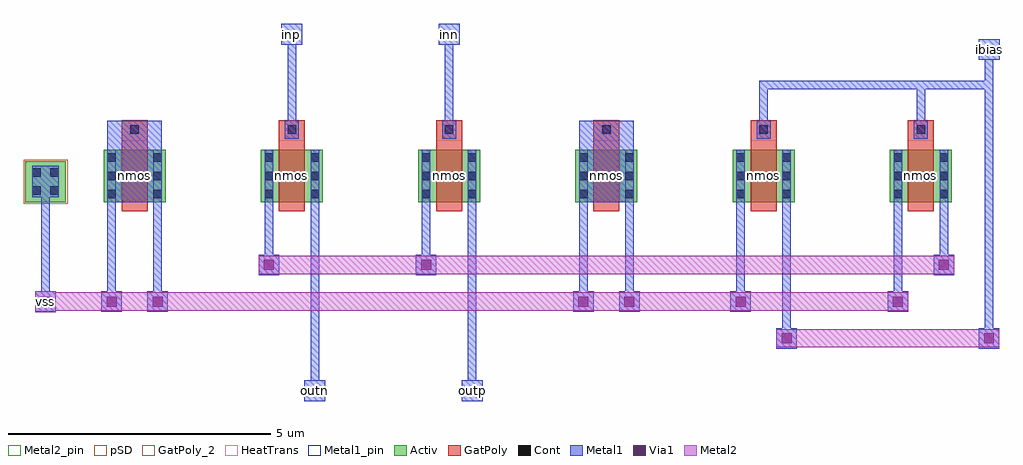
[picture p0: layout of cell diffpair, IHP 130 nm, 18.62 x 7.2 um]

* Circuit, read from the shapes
.subckt diffpair ibias inn inp outn outp vss
XM1 vss vss vss vss sg13_lv_nmos w=1u l=0.5u m=2
XM2 outn inp n1 vss sg13_lv_nmos w=1u l=0.5u
XM3 outp inn n1 vss sg13_lv_nmos w=1u l=0.5u
XM4 ibias ibias vss vss sg13_lv_nmos w=1u l=0.5u
XM5 n1 ibias vss vss sg13_lv_nmos w=1u l=0.5u
.ends

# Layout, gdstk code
import gdstk
lib = gdstk.Library(unit=1e-6, precision=1e-09)
def R(c, l, rs):  # rectangles x0, y0, x1, y1
    for r in rs: c.add(gdstk.rectangle(r[:2], r[2:], *l))
def A(c, l, x, y, w, h, nx, ny, dx, dy):  # array of equal rectangles
    R(c, l, [(x+i*dx, y+j*dy, x+i*dx+w, y+j*dy+h) for i in range(nx) for j in range(ny)])
Activ = (1, 0)
GatPoly = (5, 0)
GatPoly_2 = (5, 2)
Cont = (6, 0)
Metal1 = (8, 0)
Metal1_pin = (8, 2)
Metal2 = (10, 0)
Metal2_pin = (10, 2)
pSD = (14, 0)
Via1 = (19, 0)
HeatTrans = (51, 0)

diffpair = lib.new_cell('diffpair')
A(diffpair, Activ, 0, 0, 1.18, 1, 6, 1, 3, 0)
R(diffpair, Activ, [(-1.5,0,-0.72,0.78), (0,0,0.3,0.3), (0.88,0,1.18,0.3), (3,0,3.3,0.3), (3.88,0,4.18,0.3), (6,0,6.3,0.3), (6.88,0,7.18,0.3), (9,0,9.3,0.3), (9.88,0,10.18,0.3), (12,0,12.3,0.3), (12.88,0,13.18,0.3), (15,0,15.3,0.3), (15.88,0,16.18,0.3)])
A(diffpair, GatPoly, 0.34, -0.18, 0.5, 1.36, 6, 1, 3, 0)
A(diffpair, GatPoly, 0.34, 1, 0.5, 0.56, 6, 1, 3, 0)
A(diffpair, GatPoly_2, 0.34, -0.18, 0.5, 1.36, 6, 1, 3, 0)
A(diffpair, Cont, 0.07, 0.07, 0.16, 0.16, 1, 3, 0, 0.35)
A(diffpair, Cont, 0.95, 0.07, 0.16, 0.16, 1, 3, 0, 0.35)
A(diffpair, Cont, 3.07, 0.07, 0.16, 0.16, 1, 3, 0, 0.35)
A(diffpair, Cont, 3.95, 0.07, 0.16, 0.16, 1, 3, 0, 0.35)
A(diffpair, Cont, 6.07, 0.07, 0.16, 0.16, 1, 3, 0, 0.35)
A(diffpair, Cont, 6.95, 0.07, 0.16, 0.16, 1, 3, 0, 0.35)
A(diffpair, Cont, 9.07, 0.07, 0.16, 0.16, 1, 3, 0, 0.35)
A(diffpair, Cont, 9.95, 0.07, 0.16, 0.16, 1, 3, 0, 0.35)
A(diffpair, Cont, 12.07, 0.07, 0.16, 0.16, 1, 3, 0, 0.35)
A(diffpair, Cont, 12.95, 0.07, 0.16, 0.16, 1, 3, 0, 0.35)
A(diffpair, Cont, 15.07, 0.07, 0.16, 0.16, 1, 3, 0, 0.35)
A(diffpair, Cont, 15.95, 0.07, 0.16, 0.16, 1, 3, 0, 0.35)
A(diffpair, Cont, 0.51, 1.3, 0.16, 0.16, 6, 1, 3, 0)
R(diffpair, Cont, [(-1.36,0.14,-1.2,0.3), (-1.02,0.14,-0.86,0.3), (-1.36,0.48,-1.2,0.64), (-1.02,0.48,-0.86,0.64)])
A(diffpair, Metal1, 0.455, 1.21, 0.27, 0.34, 6, 1, 3, 0)
R(diffpair, Metal1, [(3.83,-3.8,4.23,-3.4), (6.83,-3.8,7.23,-3.4), (3.95,-3.6,4.11,0), (6.95,-3.6,7.11,-2.9), (6.95,-2.9,7.11,0), (12.835,-2.795,13.225,-2.405), (16.695,-2.795,17.085,-2.405), (12.95,-2.6,13.11,0), (16.81,-2.6,16.97,2.31), (-1.305,-2.095,-0.915,-1.705), (-0.045,-2.095,0.345,-1.705), (0.835,-2.095,1.225,-1.705), (8.955,-2.095,9.345,-1.705), (9.835,-2.095,10.225,-1.705), (11.955,-2.095,12.345,-1.705), (14.955,-2.095,15.345,-1.705), (-1.19,-1.9,-1.03,0.09), (0.07,-1.9,0.23,0), (0.95,-1.9,1.11,0), (9.07,-1.9,9.23,0), (9.95,-1.9,10.11,0), (12.07,-1.9,12.23,0), (15.07,-1.9,15.23,0), (2.955,-1.395,3.345,-1.005), (5.955,-1.395,6.345,-1.005), (15.835,-1.395,16.225,-1.005), (3.07,-1.2,3.23,0), (6.07,-1.2,6.23,0), (15.95,-1.2,16.11,0), (0.07,0,1.11,1.55), (0.07,0,0.23,1), (0.95,0,1.11,1), (3.07,0,3.23,1), (3.95,0,4.11,1), (6.07,0,6.23,1), (6.95,0,7.11,1), (9.07,0,10.11,1.55), (9.07,0,9.23,1), (9.95,0,10.11,1), (12.07,0,12.23,1), (12.95,0,13.11,1), (15.07,0,15.23,1), (15.95,0,16.11,1), (-1.36,0.09,-0.86,0.69), (3.51,1.55,3.67,3.2), (6.51,1.55,6.67,3.2), (12.51,1.55,12.67,2.31), (15.51,1.55,15.67,2.31), (12.51,2.15,16.97,2.31), (16.81,2.15,16.97,2.91), (16.69,2.71,17.09,3.11), (3.39,3,3.79,3.4), (6.39,3,6.79,3.4)])
R(diffpair, Metal1_pin, [(3.83,-3.8,4.23,-3.4), (6.83,-3.8,7.23,-3.4), (0.07,0,0.23,1), (0.95,0,1.11,1), (3.07,0,3.23,1), (3.95,0,4.11,1), (6.07,0,6.23,1), (6.95,0,7.11,1), (9.07,0,9.23,1), (9.95,0,10.11,1), (12.07,0,12.23,1), (12.95,0,13.11,1), (15.07,0,15.23,1), (15.95,0,16.11,1), (16.69,2.71,17.09,3.11), (3.39,3,3.79,3.4), (6.39,3,6.79,3.4)])
R(diffpair, Metal2, [(12.835,-2.775,17.085,-2.425), (-1.31,-2.1,-0.91,-1.7), (-1.305,-2.075,12.345,-1.725), (12.15,-2.075,15.15,-1.725), (14.955,-2.075,15.345,-1.725), (2.955,-1.375,16.225,-1.025)])
R(diffpair, Metal2_pin, [(-1.31,-2.1,-0.91,-1.7)])
R(diffpair, pSD, [(-1.53,-0.03,-0.69,0.81)])
R(diffpair, Via1, [(12.935,-2.695,13.125,-2.505), (16.795,-2.695,16.985,-2.505), (-1.205,-1.995,-1.015,-1.805), (0.055,-1.995,0.245,-1.805), (0.935,-1.995,1.125,-1.805), (9.055,-1.995,9.245,-1.805), (9.935,-1.995,10.125,-1.805), (12.055,-1.995,12.245,-1.805), (15.055,-1.995,15.245,-1.805), (3.055,-1.295,3.245,-1.105), (6.055,-1.295,6.245,-1.105), (15.935,-1.295,16.125,-1.105)])
A(diffpair, HeatTrans, 0.34, -0.18, 0.5, 1.36, 6, 1, 3, 0)
diffpair.add(gdstk.Label('inp', (3.59,3.2), layer=8, texttype=25))
diffpair.add(gdstk.Label('outn', (4.03,-3.6), layer=8, texttype=25))
diffpair.add(gdstk.Label('inn', (6.59,3.2), layer=8, texttype=25))
diffpair.add(gdstk.Label('outp', (7.03,-3.6), layer=8, texttype=25))
diffpair.add(gdstk.Label('ibias', (16.89,2.91), layer=8, texttype=25))
diffpair.add(gdstk.Label('vss', (-1.11,-1.9), layer=10, texttype=25))
diffpair.add(gdstk.Label('nmos', (0.59,0.5), layer=63, texttype=0))
diffpair.add(gdstk.Label('nmos', (3.59,0.5), layer=63, texttype=0))
diffpair.add(gdstk.Label('nmos', (6.59,0.5), layer=63, texttype=0))
diffpair.add(gdstk.Label('nmos', (9.59,0.5), layer=63, texttype=0))
diffpair.add(gdstk.Label('nmos', (12.59,0.5), layer=63, texttype=0))
diffpair.add(gdstk.Label('nmos', (15.59,0.5), layer=63, texttype=0))
diffpair.add(gdstk.Label('nmos', (0.59,0.5), layer=51, texttype=0))
diffpair.add(gdstk.Label('nmos', (3.59,0.5), layer=51, texttype=0))
diffpair.add(gdstk.Label('nmos', (6.59,0.5), layer=51, texttype=0))
diffpair.add(gdstk.Label('nmos', (9.59,0.5), layer=51, texttype=0))
diffpair.add(gdstk.Label('nmos', (12.59,0.5), layer=51, texttype=0))
diffpair.add(gdstk.Label('nmos', (15.59,0.5), layer=51, texttype=0))

lib.write_gds('diffpair.gds')
